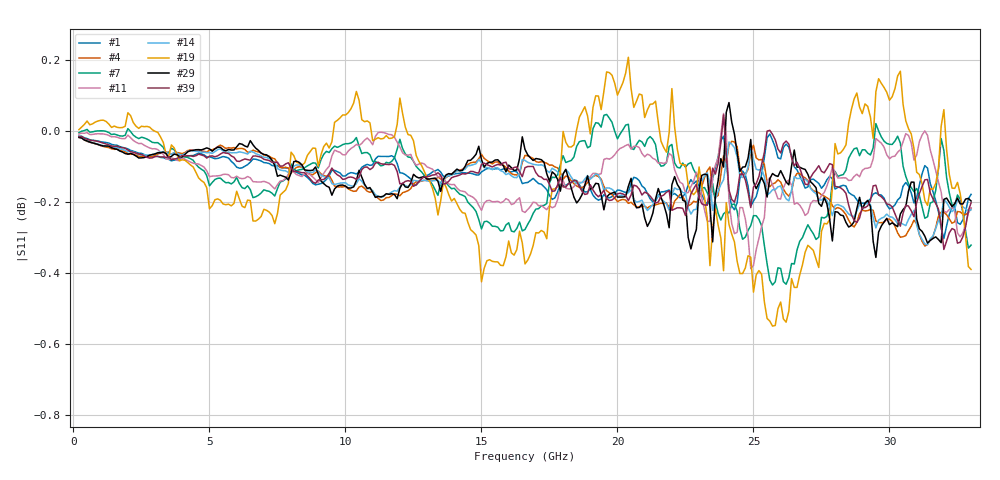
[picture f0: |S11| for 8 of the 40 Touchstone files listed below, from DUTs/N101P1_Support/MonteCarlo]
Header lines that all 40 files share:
# GHZ S RI R 50
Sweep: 200 MHz to 33 GHz
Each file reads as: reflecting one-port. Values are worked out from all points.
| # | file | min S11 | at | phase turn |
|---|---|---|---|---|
| 1 | N101P1_2.s2p | -0.3 dB | 32 GHz | -2367 deg |
| 2 | N101P1_5.s2p | -0.3 dB | 30.7 GHz | -2367 deg |
| 3 | N101P1_7.s2p | -0.4 dB | 22.7 GHz | -2368 deg |
| 4 | N101P1_9.s2p | -0.3 dB | 31.3 GHz | -2367 deg |
| 5 | N101P1_10.s2p | -0.6 dB | 25 GHz | -2369 deg |
| 6 | N101P1_16.s2p | -0.3 dB | 32.6 GHz | -2367 deg |
| 7 | N101P1_17.s2p | -0.4 dB | 25.7 GHz | -2369 deg |
| 8 | N101P1_21.s2p | -0.4 dB | 25.7 GHz | -2369 deg |
| 9 | N101P1_23.s2p | -0.3 dB | 30.8 GHz | -2368 deg |
| 10 | N101P1_24.s2p | -0.4 dB | 32 GHz | -2366 deg |
| 11 | N101P1_25.s2p | -0.4 dB | 24.9 GHz | -2368 deg |
| 12 | N101P1_26.s2p | -0.3 dB | 31.3 GHz | -2368 deg |
| 13 | N101P1_29.s2p | -0.4 dB | 26.2 GHz | -2369 deg |
| 14 | N101P1_32.s2p | -0.3 dB | 31.4 GHz | -2367 deg |
| 15 | N101P1_34.s2p | -0.3 dB | 31.3 GHz | -2367 deg |
| 16 | N101P1_37.s2p | -0.3 dB | 31.3 GHz | -2368 deg |
| 17 | N101P1_39.s2p | -0.4 dB | 30.8 GHz | -2367 deg |
| 18 | N101P1_40.s2p | -0.4 dB | 25 GHz | -2368 deg |
| 19 | N101P1_43.s2p | -0.5 dB | 25.7 GHz | -2370 deg |
| 20 | N101P1_44.s2p | -0.3 dB | 31.3 GHz | -2368 deg |
| 21 | N101P1_45.s2p | -0.4 dB | 31.3 GHz | -2367 deg |
| 22 | N101P1_46.s2p | -0.5 dB | 26.2 GHz | -2370 deg |
| 23 | N101P1_48.s2p | -0.4 dB | 31.3 GHz | -2367 deg |
| 24 | N101P1_49.s2p | -0.6 dB | 25 GHz | -2369 deg |
| 25 | N101P1_52.s2p | -0.3 dB | 32.6 GHz | -2367 deg |
| 26 | N101P1_54.s2p | -0.4 dB | 25 GHz | -2368 deg |
| 27 | N101P1_55.s2p | -0.4 dB | 26.2 GHz | -2369 deg |
| 28 | N101P1_56.s2p | -0.4 dB | 25 GHz | -2368 deg |
| 29 | N101P1_58.s2p | -0.4 dB | 29.5 GHz | -2367 deg |
| 30 | N101P1_59.s2p | -0.4 dB | 25 GHz | -2368 deg |
| 31 | N101P1_60.s2p | -0.3 dB | 31.4 GHz | -2368 deg |
| 32 | N101P1_63.s2p | -0.4 dB | 31.3 GHz | -2367 deg |
| 33 | N101P1_64.s2p | -0.3 dB | 32 GHz | -2367 deg |
| 34 | N101P1_66.s2p | -0.4 dB | 26.4 GHz | -2368 deg |
| 35 | N101P1_67.s2p | -0.3 dB | 31.4 GHz | -2367 deg |
| 36 | N101P1_68.s2p | -0.3 dB | 25 GHz | -2367 deg |
| 37 | N101P1_70.s2p | -0.3 dB | 31.3 GHz | -2368 deg |
| 38 | N101P1_77.s2p | -0.3 dB | 32 GHz | -2367 deg |
| 39 | N101P1_79.s2p | -0.3 dB | 32 GHz | -2366 deg |
| 40 | N101P1_80.s2p | -0.4 dB | 25.7 GHz | -2369 deg |
